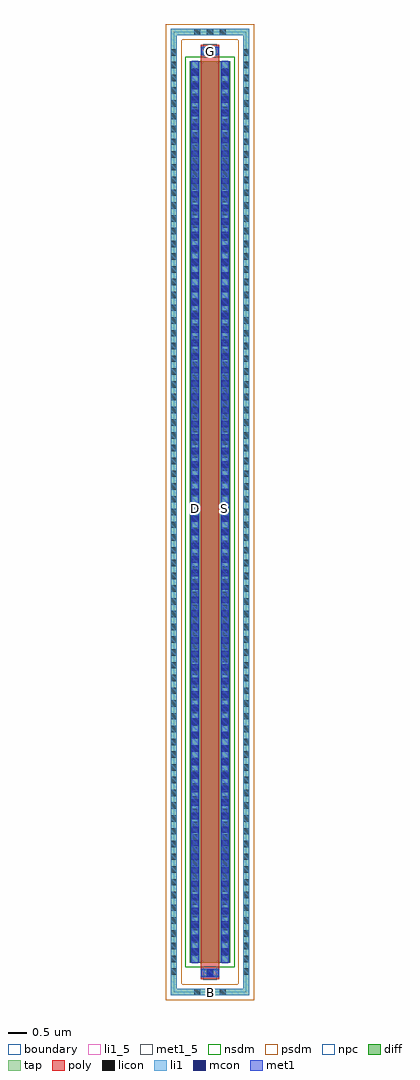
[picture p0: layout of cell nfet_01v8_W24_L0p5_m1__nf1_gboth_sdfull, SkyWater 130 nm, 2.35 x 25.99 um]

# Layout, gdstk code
import gdstk
lib = gdstk.Library(unit=1e-6, precision=1e-09)
def R(c, l, rs):  # rectangles x0, y0, x1, y1
    for r in rs: c.add(gdstk.rectangle(r[:2], r[2:], *l))
def A(c, l, x, y, w, h, nx, ny, dx, dy):  # array of equal rectangles
    R(c, l, [(x+i*dx, y+j*dy, x+i*dx+w, y+j*dy+h) for i in range(nx) for j in range(ny)])
diff = (65, 20)
tap = (65, 44)
poly = (66, 20)
licon = (66, 44)
li1_5 = (67, 5)
li1 = (67, 20)
mcon = (67, 44)
met1_5 = (68, 5)
met1 = (68, 20)
nsdm = (93, 44)
psdm = (94, 20)
npc = (95, 20)
boundary = (235, 4)

sky130_fd_pr__nfet_01v8_ = lib.new_cell('sky130_fd_pr__nfet_01v8_LZQSHP')
R(sky130_fd_pr__nfet_01v8_, diff, [(-0.54,-12,0.54,12)])
R(sky130_fd_pr__nfet_01v8_, tap, [(-1.05,-12.87,1.05,-12.7), (-1.05,-12.7,-0.88,12.7), (0.88,-12.7,1.05,12.7), (-1.05,12.7,1.05,12.87)])
R(sky130_fd_pr__nfet_01v8_, poly, [(-0.25,-12.44,0.25,12.44)])
A(sky130_fd_pr__nfet_01v8_, licon, -0.425, -12.87, 0.17, 0.17, 3, 2, 0.34, 25.57)
A(sky130_fd_pr__nfet_01v8_, licon, -1.05, -12.325, 0.17, 0.17, 1, 73, 0, 0.34)
A(sky130_fd_pr__nfet_01v8_, licon, 0.88, -12.325, 0.17, 0.17, 1, 73, 0, 0.34)
A(sky130_fd_pr__nfet_01v8_, licon, -0.48, -11.815, 0.17, 0.17, 1, 70, 0, 0.34)
A(sky130_fd_pr__nfet_01v8_, licon, 0.31, -11.815, 0.17, 0.17, 1, 70, 0, 0.34)
R(sky130_fd_pr__nfet_01v8_, licon, [(-0.085,-12.36,0.085,-12.19), (-0.085,12.19,0.085,12.36)])
R(sky130_fd_pr__nfet_01v8_, li1, [(-1.05,-12.87,1.05,-12.7), (-1.05,-12.7,-0.88,12.7), (0.88,-12.7,1.05,12.7), (-0.25,-12.36,0.25,-12.19), (-0.48,-12.02,-0.31,12.02), (0.31,-12.02,0.48,12.02), (-0.25,12.19,0.25,12.36), (-1.05,12.7,1.05,12.87)])
A(sky130_fd_pr__nfet_01v8_, mcon, -0.48, -11.785, 0.17, 0.17, 1, 66, 0, 0.36)
A(sky130_fd_pr__nfet_01v8_, mcon, 0.31, -11.785, 0.17, 0.17, 1, 66, 0, 0.36)
R(sky130_fd_pr__nfet_01v8_, mcon, [(-0.085,-12.36,0.085,-12.19), (-0.085,12.19,0.085,12.36)])
R(sky130_fd_pr__nfet_01v8_, met1, [(-0.23,-12.39,0.23,-12.16), (-0.51,-12,-0.28,12), (0.28,-12,0.51,12), (-0.23,12.16,0.23,12.39)])
R(sky130_fd_pr__nfet_01v8_, nsdm, [(-0.665,-12.125,0.665,12.125)])
R(sky130_fd_pr__nfet_01v8_, psdm, [(-1.175,-12.995,1.175,-12.575), (-1.175,-12.575,-0.755,12.575), (0.755,-12.575,1.175,12.575), (-1.175,12.575,1.175,12.995)])
R(sky130_fd_pr__nfet_01v8_, npc, [(-0.185,-12.46,0.185,-12.09), (-0.185,12.09,0.185,12.46)])
R(sky130_fd_pr__nfet_01v8_, boundary, [(-0.965,-12.785,0.965,12.785)])
sky130_fd_pr__nfet_01v8_.add(gdstk.Label('B', (0,-12.785), layer=67, texttype=5))
sky130_fd_pr__nfet_01v8_.add(gdstk.Label('D', (-0.395,0), layer=67, texttype=5))
sky130_fd_pr__nfet_01v8_.add(gdstk.Label('S', (0.395,0), layer=67, texttype=5))
sky130_fd_pr__nfet_01v8_.add(gdstk.Label('G', (0,12.275), layer=67, texttype=5))

nfet_01v8_w24_l0p5_m1__n = lib.new_cell('nfet_01v8_W24_L0p5_m1__nf1_gboth_sdfull')
R(nfet_01v8_w24_l0p5_m1__n, li1_5, [(0.88,-0.085,1.05,0.085)])
R(nfet_01v8_w24_l0p5_m1__n, li1, [(0.88,-0.085,1.05,0.085)])
R(nfet_01v8_w24_l0p5_m1__n, met1_5, [(0.455,12.785,0.685,12.985), (1.245,12.785,1.475,12.985), (0.735,24.945,1.195,25.175)])
R(nfet_01v8_w24_l0p5_m1__n, met1, [(0.455,12.785,0.685,12.985), (1.245,12.785,1.475,12.985), (0.735,24.945,1.195,25.175)])
nfet_01v8_w24_l0p5_m1__n.add(gdstk.Reference(sky130_fd_pr__nfet_01v8_, (0.965,12.785)))
nfet_01v8_w24_l0p5_m1__n.add(gdstk.Label('D', (0.57,12.885), layer=68, texttype=5))
nfet_01v8_w24_l0p5_m1__n.add(gdstk.Label('S', (1.36,12.885), layer=68, texttype=5))
nfet_01v8_w24_l0p5_m1__n.add(gdstk.Label('G', (0.965,25.06), layer=68, texttype=5))
nfet_01v8_w24_l0p5_m1__n.add(gdstk.Label('B', (0.965,0), layer=67, texttype=5))

lib.write_gds('nfet_01v8_W24_L0p5_m1__nf1_gboth_sdfull.gds')
